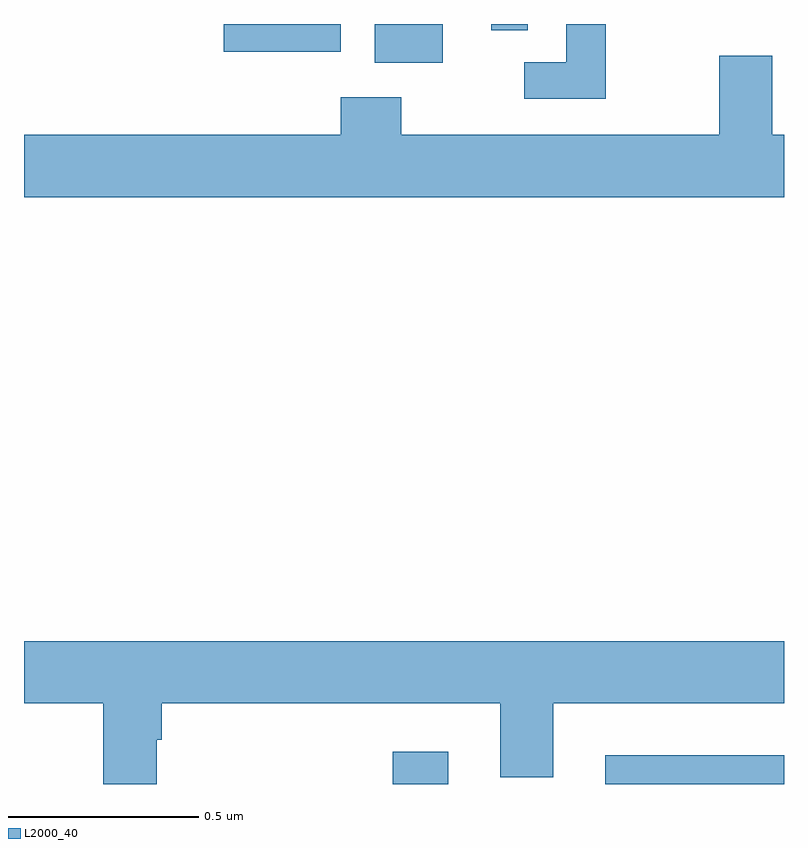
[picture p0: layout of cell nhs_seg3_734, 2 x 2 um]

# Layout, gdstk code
import gdstk
lib = gdstk.Library(unit=1e-6, precision=1e-09)
def R(c, l, rs):  # rectangles x0, y0, x1, y1
    for r in rs: c.add(gdstk.rectangle(r[:2], r[2:], *l))
def P(c, l, *ps):  # polygons
    for p in ps: c.add(gdstk.Polygon(p, *l))
L2000_40 = (2000, 40)

nhs_seg3_734 = lib.new_cell('nhs_seg3_734')
R(nhs_seg3_734, L2000_40, [(120.97,671.4,121.117,671.485), (121.529,671.4,122,671.476), (120.923,673.298,121.102,673.4), (120.525,673.327,120.834,673.4), (121.23,673.384,121.326,673.4)])
P(nhs_seg3_734, L2000_40, [(121.531,673.4),(121.427,673.4),(121.427,673.299),(121.317,673.299),(121.317,673.203),(121.531,673.203)],
  [(122,673.108),(121.969,673.108),(121.969,673.316),(121.829,673.316),(121.829,673.108),(120.993,673.108),(120.993,673.207),(120.833,673.207),(120.833,673.108),(120,673.108),(120,672.944),(122,672.944)],
  [(120.349,671.516),(120.362,671.516),(120.362,671.612),(121.253,671.612),(121.253,671.418),(121.393,671.418),(121.393,671.612),(122,671.612),(122,671.776),(120,671.776),(120,671.612),(120.209,671.612),(120.209,671.4),(120.349,671.4)])

lib.write_gds('nhs_seg3_734.gds')
